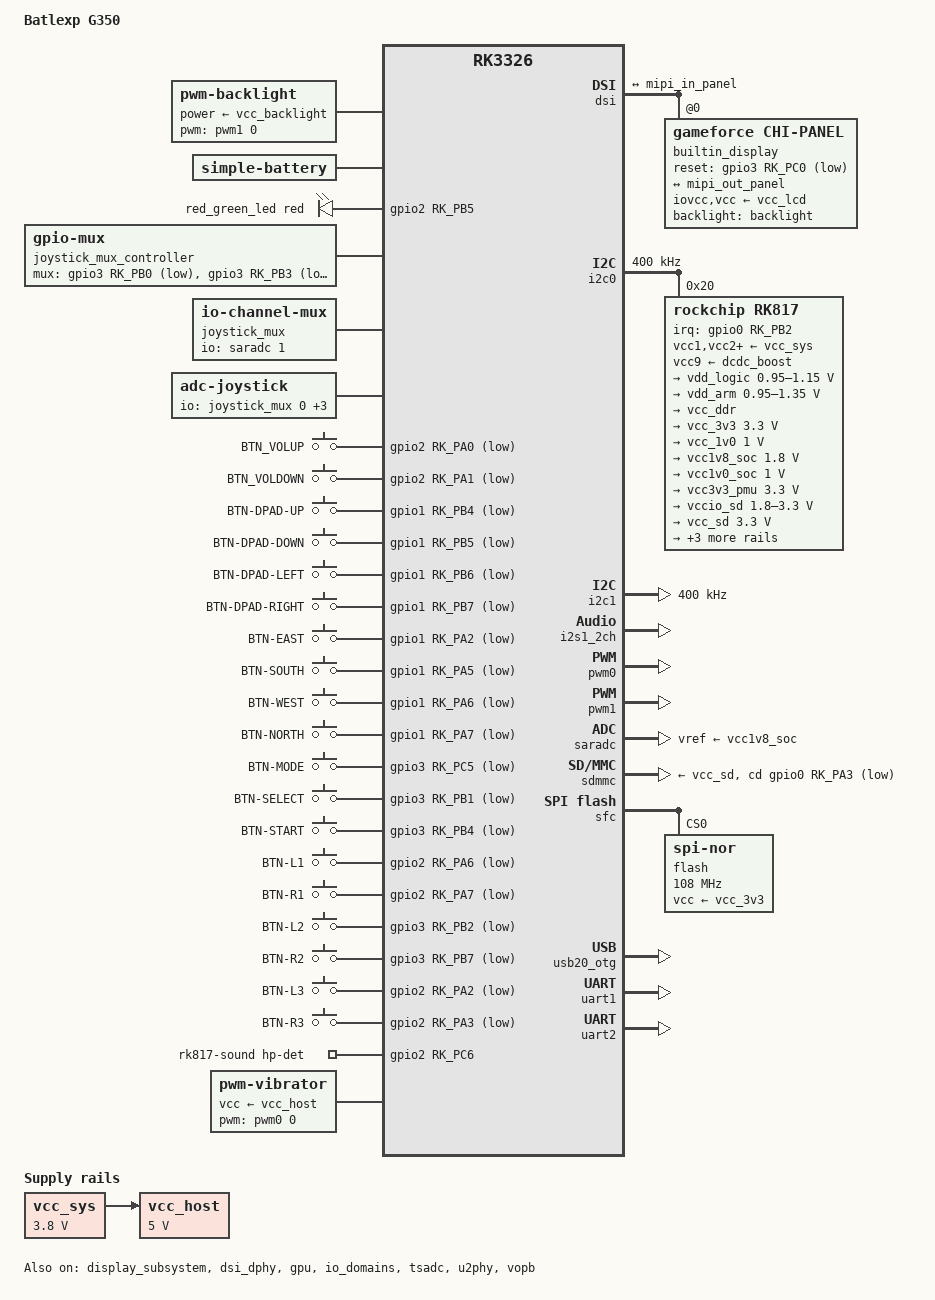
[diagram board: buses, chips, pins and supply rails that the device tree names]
// SPDX-License-Identifier: GPL-2.0-or-later
/*
 *  Copyright (c) 2025 Aura Cichoń <vddcore@outlook.com>
 */

/dts-v1/;
#include <dt-bindings/input/input.h>
#include "rk3326.dtsi"

/ {
	model = "Batlexp G350";
	compatible = "batlexp,rk3326-batlexp-g350", "rockchip,rk3326";

	chosen {
		stdout-path = "serial2:115200n8";
	};

	backlight: backlight {
		compatible = "pwm-backlight";
		power-supply = <&vcc_backlight>;
		pwms = <&pwm1 0 25000 0>;

		brightness-levels = <0 1 2 3 4 5 6 7 8 9 10 11 12 13 14 15 16 17 18 19 20 21 22 23 24 25 26 27 28 29 30 31 32 33 34 35 36 37 38 39 40 41 42 43 44 45 46 47 48 49 50 51 52 53 54 55 56 57 58 59 60 61 62 63 64 65 66 67 68 69 70 71 72 73 74 75 76 77 78 79 80 81 82 83 84 85 86 87 88 89 90 91 92 93 94 95 96 97 98 99 100 101 102 103 104 105 106 107 108 109 110 111 112 113 114 115 116 117 118 119 120 121 122 123 124 125 126 127 128 129 130 131 132 133 134 135 136 137 138 139 140 141 142 143 144 145 146 147 148 149 150 151 152 153 154 155 156 157 158 159 160 161 162 163 164 165 166 167 168 169 170 171 172 173 174 175 176 177 178 179 180 181 182 183 184 185 186 187 188 189 190 191 192 193 194 195 196 197 198 199 200 201 202 203 204 205 206 207 208 209 210 211 212 213 214 215 216 217 218 219 220 221 222 223 224 225 226 227 228 229 230 231 232 233 234 235 236 237 238 239 240 241 242 243 244 245 246 247 248 249 250 251 252 253 254 255>;
		default-brightness-level = <200>;
	};

	battery: battery {
		compatible = "simple-battery";
		charge-full-design-microamp-hours = <3200000>;
		charge-term-current-microamp = <300000>;
		constant-charge-current-max-microamp = <1600000>;
		constant-charge-voltage-max-microvolt = <4200000>;
		factory-internal-resistance-micro-ohms = <180000>;
		ocv-capacity-celsius = <20>;
		ocv-capacity-table-0 =  <4106000 100>, <4071000 95>, <4018000 90>, <3975000 85>,
								<3946000 80>, <3908000 75>, <3877000 70>, <3853000 65>,
								<3834000 60>, <3816000 55>, <3802000 50>, <3788000 45>,
								<3774000 40>, <3760000 35>, <3748000 30>, <3735000 25>,
								<3718000 20>, <3697000 15>, <3685000 10>, <3625000 5>,
								<3400000 0>;
		voltage-max-design-microvolt = <4250000>;
		voltage-min-design-microvolt = <3400000>;
	};

	gpio_led: gpio-leds {
		compatible = "gpio-leds";
		pinctrl-names = "default";
		pinctrl-0 = <&led_pin>;

		red_green_led: led-0 {
			color = <LED_COLOR_ID_RED>;
			gpios = <&gpio2 RK_PB5 GPIO_ACTIVE_HIGH>;
			function = LED_FUNCTION_CHARGING;
		};
	};

	joystick_mux_controller: joystick-mux-controller {
		compatible = "gpio-mux";
		pinctrl = <&mux_en_pins>;
		#mux-control-cells = <0>;

		mux-gpios = 
			<&gpio3 RK_PB0 GPIO_ACTIVE_LOW>,
			<&gpio3 RK_PB3 GPIO_ACTIVE_LOW>;
	};

	joystick_mux: joystick-mux {
		compatible = "io-channel-mux";
		io-channels = <&saradc 1>;
		io-channel-names = "parent";
		#io-channel-cells = <1>;

		mux-controls = <&joystick_mux_controller>;
		channels = "0", "1", "2", "3";
	};

	joystick: joystick {
		compatible = "adc-joystick";
		
		io-channels = 
			<&joystick_mux 0>,
			<&joystick_mux 1>,
			<&joystick_mux 2>,
			<&joystick_mux 3>;

		poll-interval = <60>;
		#address-cells = <1>;
		#size-cells = <0>;

		axis@0 {
			reg = <0>;
			abs-flat = <10>;
			abs-fuzz = <10>;
			abs-range = <1024 0>;
			linux,code = <ABS_X>;
		};

		axis@1 {
			reg = <1>;
			abs-flat = <10>;
			abs-fuzz = <10>;
			abs-range = <1024 0>;
			linux,code = <ABS_Y>;
		};

		axis@2 {
			reg = <3>;
			abs-flat = <10>;
			abs-fuzz = <10>;
			abs-range = <1024 0>;
			linux,code = <ABS_RX>;
		};

		axis@3 {
			reg = <2>;
			abs-flat = <10>;
			abs-fuzz = <10>;
			abs-range = <0 1024>;
			linux,code = <ABS_RY>;
		};
	};

	keys_vol: keys-vol {
		compatible = "gpio-keys";
		autorepeat;
		pinctrl-0 = <&btn_pins_vol>;
		pinctrl-names = "default";

		button-volume-up {
			gpios = <&gpio2 RK_PA0 GPIO_ACTIVE_LOW>;
			label = "BTN_VOLUP";
			linux,code = <KEY_VOLUMEUP>;
		};

		button-vol-down {
			gpios = <&gpio2 RK_PA1 GPIO_ACTIVE_LOW>;
			label = "BTN_VOLDOWN";
			linux,code = <KEY_VOLUMEDOWN>;
		};
	};

	keys_gamepad: keys-gamepad {
		compatible = "gpio-keys";
		pinctrl-0 = <&btn_pins_gamepad>;
		pinctrl-names = "default";

		button-dpad-up {
			gpios = <&gpio1 RK_PB4 GPIO_ACTIVE_LOW>;
			label = "BTN-DPAD-UP";
			linux,code = <BTN_DPAD_UP>;
		};

		button-dpad-down {
			gpios = <&gpio1 RK_PB5 GPIO_ACTIVE_LOW>;
			label = "BTN-DPAD-DOWN";
			linux,code = <BTN_DPAD_DOWN>;
		};

		button-dpad-left {
			gpios = <&gpio1 RK_PB6 GPIO_ACTIVE_LOW>;
			label = "BTN-DPAD-LEFT";
			linux,code = <BTN_DPAD_LEFT>;
		};

		button-dpad-right {
			gpios = <&gpio1 RK_PB7 GPIO_ACTIVE_LOW>;
			label = "BTN-DPAD-RIGHT";
			linux,code = <BTN_DPAD_RIGHT>;
		};

		button-east {
			gpios = <&gpio1 RK_PA2 GPIO_ACTIVE_LOW>;
			label = "BTN-EAST";
			linux,code = <BTN_EAST>;
		};

		button-south {
			gpios = <&gpio1 RK_PA5 GPIO_ACTIVE_LOW>;
			label = "BTN-SOUTH";
			linux,code = <BTN_SOUTH>;
		};

		button-west {
			gpios = <&gpio1 RK_PA6 GPIO_ACTIVE_LOW>;
			label = "BTN-WEST";
			linux,code = <BTN_WEST>;
		};

		button-north {
			gpios = <&gpio1 RK_PA7 GPIO_ACTIVE_LOW>;
			label = "BTN-NORTH";
			linux,code = <BTN_NORTH>;
		};

		button-mode {
			gpios = <&gpio3 RK_PC5 GPIO_ACTIVE_LOW>;
			label = "BTN-MODE";
			linux,code = <BTN_TRIGGER_HAPPY5>;
		};

		button-select {
			gpios = <&gpio3 RK_PB1 GPIO_ACTIVE_LOW>;
			label = "BTN-SELECT";
			linux,code = <BTN_TRIGGER_HAPPY1>;
		};

		button-start {
			gpios = <&gpio3 RK_PB4 GPIO_ACTIVE_LOW>;
			label = "BTN-START";
			linux,code = <BTN_TRIGGER_HAPPY2>;
		};

		button-l1 {
			gpios = <&gpio2 RK_PA6 GPIO_ACTIVE_LOW>;
			label = "BTN-L1";
			linux,code = <BTN_TL>;
		};

		button-r1 {
			gpios = <&gpio2 RK_PA7 GPIO_ACTIVE_LOW>;
			label = "BTN-R1";
			linux,code = <BTN_TR>;
		};

		button-l2 {
			gpios = <&gpio3 RK_PB2 GPIO_ACTIVE_LOW>;
			label = "BTN-L2";
			linux,code = <BTN_TL2>;
		};

		button-r2 {
			gpios = <&gpio3 RK_PB7 GPIO_ACTIVE_LOW>;
			label = "BTN-R2";
			linux,code = <BTN_TR2>;
		};

		button-l3 {
			gpios = <&gpio2 RK_PA2 GPIO_ACTIVE_LOW>;
			label = "BTN-L3";
			linux,code = <BTN_TRIGGER_HAPPY3>;
		};

		button-r3 {
			gpios = <&gpio2 RK_PA3 GPIO_ACTIVE_LOW>;
			label = "BTN-R3";
			linux,code = <BTN_TRIGGER_HAPPY4>;
		};
	};

	rk817-sound {
		compatible = "simple-audio-card";
		simple-audio-card,name = "rk817_int";
		simple-audio-card,format = "i2s";
		simple-audio-card,hp-det-gpios = <&gpio2 RK_PC6 GPIO_ACTIVE_HIGH>;
		simple-audio-card,mclk-fs = <256>;
		simple-audio-card,widgets =
			"Microphone", "Mic Jack",
			"Headphone", "Headphones",
			"Speaker", "Speaker";
		simple-audio-card,routing =
			"MICL", "Mic Jack",
			"Headphones", "HPOL",
			"Headphones", "HPOR",
			"Speaker", "SPKO";

		simple-audio-card,codec {
			sound-dai = <&rk817>;
		};

		simple-audio-card,cpu {
			sound-dai = <&i2s1_2ch>;
		};
	};

	vcc_host: regulator-vcc-host {
		compatible = "regulator-fixed";
		regulator-name = "vcc_host";
		regulator-min-microvolt = <5000000>;
		regulator-max-microvolt = <5000000>;
		regulator-always-on;
		vin-supply = <&vcc_sys>;
	};

	vcc_sys: regulator-vcc-sys {
		compatible = "regulator-fixed";
		regulator-name = "vcc3v8_sys";
		regulator-always-on;
		regulator-min-microvolt = <3800000>;
		regulator-max-microvolt = <3800000>;
	};

	vibrator: pwm-vibrator {
		compatible = "pwm-vibrator";
		pwms = <&pwm0 0 1000000000 0>;
		pwm-names = "enable";
		vcc-supply = <&vcc_host>;
	};
};

&cpu0 {
	cpu-supply = <&vdd_arm>;
};

&cpu1 {
	cpu-supply = <&vdd_arm>;
};

&cpu2 {
	cpu-supply = <&vdd_arm>;
};

&cpu3 {
	cpu-supply = <&vdd_arm>;
};

&cru {
	assigned-clocks = <&cru PLL_NPLL>,
		<&cru ACLK_BUS_PRE>, <&cru ACLK_PERI_PRE>,
		<&cru HCLK_BUS_PRE>, <&cru HCLK_PERI_PRE>,
		<&cru PCLK_BUS_PRE>, <&cru SCLK_GPU>;

	assigned-clock-rates = <1188000000>,
		<200000000>, <200000000>,
		<150000000>, <150000000>,
		<100000000>, <200000000>;
};

&display_subsystem {
	status = "okay";
};

&dsi {
	#address-cells = <1>;
	#size-cells = <0>;
	status = "okay";

	ports {
		mipi_out: port@1 {
			reg = <1>;

			mipi_out_panel: endpoint {
				remote-endpoint = <&mipi_in_panel>;
			};
		};
	};

	builtin_display: panel@0 {
		backlight = <&backlight>;
		compatible = "gameforce,chi-panel", "sitronix,st7703";
		reset-gpios = <&gpio3 RK_PC0 GPIO_ACTIVE_LOW>;
		reg = <0>;
		rotation = <270>;

		iovcc-supply = <&vcc_lcd>;
		vcc-supply = <&vcc_lcd>;

		port {
			mipi_in_panel: endpoint {
				remote-endpoint = <&mipi_out_panel>;
			};
		};
	};
};

&dsi_dphy {
	status = "okay";
};

&gpu {
	mali-supply = <&vdd_logic>;
	status = "okay";
};

&i2c0 {
	clock-frequency = <400000>;
	i2c-scl-falling-time-ns = <16>;
	i2c-scl-rising-time-ns = <280>;
	status = "okay";

	rk817: pmic@20 {
		compatible = "rockchip,rk817";
		reg = <0x20>;
		interrupt-parent = <&gpio0>;
		interrupts = <RK_PB2 IRQ_TYPE_LEVEL_LOW>;
		clock-output-names = "rk808-clkout1", "xin32k";
		clock-names = "mclk";
		clocks = <&cru SCLK_I2S1_OUT>;
		pinctrl-names = "default", "pmic-sleep", "pmic-power-off", "pmic-reset";
		pinctrl-0 = <&pmic_int>, <&i2s1_2ch_mclk>;
		wakeup-source;
		#clock-cells = <1>;
		#sound-dai-cells = <0>;

		vcc1-supply = <&vcc_sys>;
		vcc2-supply = <&vcc_sys>;
		vcc3-supply = <&vcc_sys>;
		vcc4-supply = <&vcc_sys>;
		vcc5-supply = <&vcc_sys>;
		vcc6-supply = <&vcc_sys>;
		vcc7-supply = <&vcc_sys>;
		vcc8-supply = <&vcc_sys>;
		vcc9-supply = <&dcdc_boost>;

		pwrkey {
			status = "okay";
		};

		regulators {
			vdd_logic: DCDC_REG1 {
				regulator-name = "vdd_logic";
				regulator-min-microvolt = <950000>;
				regulator-max-microvolt = <1150000>;
				regulator-ramp-delay = <6001>;
				regulator-always-on;
				regulator-boot-on;

				regulator-state-mem {
					regulator-on-in-suspend;
					regulator-suspend-microvolt = <950000>;
				};
			};

			vdd_arm: DCDC_REG2 {
				regulator-name = "vdd_arm";
				regulator-min-microvolt = <950000>;
				regulator-max-microvolt = <1350000>;
				regulator-ramp-delay = <6001>;
				regulator-always-on;
				regulator-boot-on;

				regulator-state-mem {
					regulator-off-in-suspend;
					regulator-suspend-microvolt = <950000>;
				};
			};

			vcc_ddr: DCDC_REG3 {
				regulator-name = "vcc_ddr";
				regulator-always-on;
				regulator-boot-on;

				regulator-state-mem {
					regulator-on-in-suspend;
				};
			};

			vcc_3v3: DCDC_REG4 {
				regulator-name = "vcc_3v3";
				regulator-min-microvolt = <3300000>;
				regulator-max-microvolt = <3300000>;
				regulator-always-on;
				regulator-boot-on;

				regulator-state-mem {
					regulator-off-in-suspend;
					regulator-suspend-microvolt = <3300000>;
				};
			};

			vcc_1v0: LDO_REG1 {
				regulator-name = "vcc_1v0";
				regulator-min-microvolt = <1000000>;
				regulator-max-microvolt = <1000000>;
				regulator-always-on;
				regulator-boot-on;

				regulator-state-mem {
					regulator-on-in-suspend;
					regulator-suspend-microvolt = <1000000>;
				};
			};

			vcc1v8_soc: LDO_REG2 {
				regulator-name = "vcc1v8_soc";
				regulator-min-microvolt = <1800000>;
				regulator-max-microvolt = <1800000>;
				regulator-always-on;
				regulator-boot-on;

				regulator-state-mem {
					regulator-on-in-suspend;
					regulator-suspend-microvolt = <1800000>;
				};
			};

			vcc1v0_soc: LDO_REG3 {
				regulator-min-microvolt = <1000000>;
				regulator-max-microvolt = <1000000>;
				regulator-name = "vcc1v0_soc";
				regulator-always-on;
				regulator-boot-on;

				regulator-state-mem {
					regulator-on-in-suspend;
					regulator-suspend-microvolt = <1000000>;
				};
			};

			vcc3v3_pmu: LDO_REG4 {
				regulator-name = "vcc3v3_pmu";
				regulator-min-microvolt = <3300000>;
				regulator-max-microvolt = <3300000>;
				regulator-always-on;
				regulator-boot-on;

				regulator-state-mem {
					regulator-on-in-suspend;
					regulator-suspend-microvolt = <3300000>;
				};
			};

			vccio_sd: LDO_REG5 {
				regulator-name = "vccio_sd";
				regulator-min-microvolt = <1800000>;
				regulator-max-microvolt = <3300000>;
				regulator-always-on;
				regulator-boot-on;

				regulator-state-mem {
					regulator-on-in-suspend;
					regulator-suspend-microvolt = <3300000>;
				};
			};

			vcc_sd: LDO_REG6 {
				regulator-name = "vcc_sd";
				regulator-min-microvolt = <3300000>;
				regulator-max-microvolt = <3300000>;
				regulator-boot-on;

				regulator-state-mem {
					regulator-on-in-suspend;
					regulator-suspend-microvolt = <3300000>;
				};
			};

			vcc_backlight: LDO_REG7 {
				regulator-name = "vcc_backlight";
				regulator-min-microvolt = <3300000>;
				regulator-max-microvolt = <3300000>;

				regulator-state-mem {
					regulator-off-in-suspend;
					regulator-suspend-microvolt = <3300000>;
				};
			};

			vcc_lcd: LDO_REG8 {
				regulator-name = "vcc_lcd";
				regulator-min-microvolt = <2800000>;
				regulator-max-microvolt = <2800000>;

				regulator-state-mem {
					regulator-off-in-suspend;
					regulator-suspend-microvolt = <2800000>;
				};
			};

			dcdc_boost: BOOST {
				regulator-name = "dcdc_boost";
				regulator-min-microvolt = <5000000>;
				regulator-max-microvolt = <5400000>;
				regulator-always-on;
				regulator-boot-on;
			};
		};

		rk817_charger: charger {
			monitored-battery = <&battery>;
			rockchip,resistor-sense-micro-ohms = <10000>;
			rockchip,sleep-enter-current-microamp = <300000>;
			rockchip,sleep-filter-current-microamp = <100000>;
		};

		rk817_codec: codec {
			rockchip,mic-in-differential;
		};
	};
};

&i2c1 {
	clock-frequency = <400000>;
	status = "okay";
};

&i2s1_2ch {
	status = "okay";
};

&io_domains {
	vccio1-supply = <&vccio_sd>;
	vccio2-supply = <&vccio_sd>;
	vccio3-supply = <&vcc_3v3>;
	vccio4-supply = <&vcc_3v3>;
	vccio5-supply = <&vcc_3v3>;
	vccio6-supply = <&vcc_3v3>;
	status = "okay";
};

&pmu_io_domains {
	pmuio1-supply = <&vcc3v3_pmu>;
	pmuio2-supply = <&vcc3v3_pmu>;
	status = "okay";
};

&pwm0 {
	status = "okay";
};

&pwm1 {
	status = "okay";
};

&saradc {
	vref-supply = <&vcc1v8_soc>;
	status = "okay";
};

&sdmmc {
	cap-sd-highspeed;
	card-detect-delay = <200>;
	cd-gpios = <&gpio0 RK_PA3 GPIO_ACTIVE_LOW>; /*[> CD GPIO <]*/
	sd-uhs-sdr12;
	sd-uhs-sdr25;
	sd-uhs-sdr50;
	sd-uhs-sdr104;
	vmmc-supply = <&vcc_sd>;
	vqmmc-supply = <&vccio_sd>;
	status = "okay";
};

&sfc {
	pinctrl-0 = <&sfc_clk &sfc_cs0 &sfc_bus2>;
	pinctrl-names = "default";
	#address-cells = <1>;
	#size-cells = <0>;
	status = "okay";

	flash@0 {
		compatible = "jedec,spi-nor";
		reg = <0>;
		spi-max-frequency = <108000000>;
		spi-rx-bus-width = <2>;
		spi-tx-bus-width = <1>;
		vcc-supply = <&vcc_3v3>;
	};
};

&tsadc {
	status = "okay";
};

&u2phy {
	status = "okay";

	u2phy_host: host-port {
		status = "okay";
	};

	u2phy_otg: otg-port {
		status = "disabled";
	};
};

&usb20_otg {
	status = "okay";
};

&uart1 {
	pinctrl-names = "default";
	pinctrl-0 = <&uart1_xfer &uart1_cts>;
	status = "okay";
};

&uart2 {
	pinctrl-names = "default";
	pinctrl-0 = <&uart2m1_xfer>;
	status = "okay";
};

&vopb {
	status = "okay";
};

&vopb_mmu {
	status = "okay";
};

&pinctrl {
	btns {
		btn_pins_gamepad: btn-pins-gamepad {
			rockchip,pins = 
				<1 RK_PB4 RK_FUNC_GPIO &pcfg_pull_up>,
				<1 RK_PB5 RK_FUNC_GPIO &pcfg_pull_up>,
				<1 RK_PB6 RK_FUNC_GPIO &pcfg_pull_up>,
				<1 RK_PB7 RK_FUNC_GPIO &pcfg_pull_up>,
				<1 RK_PA2 RK_FUNC_GPIO &pcfg_pull_up>,
				<1 RK_PA5 RK_FUNC_GPIO &pcfg_pull_up>,
				<1 RK_PA6 RK_FUNC_GPIO &pcfg_pull_up>,
				<1 RK_PA7 RK_FUNC_GPIO &pcfg_pull_up>,
				<2 RK_PA2 RK_FUNC_GPIO &pcfg_pull_up>,
				<2 RK_PA3 RK_FUNC_GPIO &pcfg_pull_up>,
				<2 RK_PA4 RK_FUNC_GPIO &pcfg_pull_up>,
				<2 RK_PA5 RK_FUNC_GPIO &pcfg_pull_up>,
				<2 RK_PA6 RK_FUNC_GPIO &pcfg_pull_up>,
				<2 RK_PA7 RK_FUNC_GPIO &pcfg_pull_up>,
				<3 RK_PB1 RK_FUNC_GPIO &pcfg_pull_up>,
				<3 RK_PB2 RK_FUNC_GPIO &pcfg_pull_up>,
				<3 RK_PB4 RK_FUNC_GPIO &pcfg_pull_up>,
				<3 RK_PB7 RK_FUNC_GPIO &pcfg_pull_up>,
				<3 RK_PC5 RK_FUNC_GPIO &pcfg_pull_up>;
		};

		btn_pins_vol: btn-pins-vol {
			rockchip,pins = 
					<2 RK_PA0 RK_FUNC_GPIO &pcfg_pull_up>,
					<2 RK_PA1 RK_FUNC_GPIO &pcfg_pull_up>;
		};
	};

	joystick {
		mux_en_pins: mux-pins {
			rockchip,pins = <3 RK_PB5 RK_FUNC_GPIO &pcfg_output_low>;
		};
	};

	leds {
		led_pin: led-pin {
			rockchip,pins = <2 RK_PB5 RK_FUNC_GPIO &pcfg_pull_none>;
		};
	};

	pmic {
		pmic_int: pmic-int {
			rockchip,pins = 
				<0 RK_PB2 RK_FUNC_GPIO &pcfg_pull_up>,
				<0 RK_PB3 RK_FUNC_GPIO &pcfg_pull_none>;
		};

		soc_slppin_gpio: soc-slppin-gpio {
			rockchip,pins = <0 RK_PA4 RK_FUNC_GPIO &pcfg_output_low>;
		};

		soc_slppin_rst: soc-slppin-rst {
			rockchip,pins = <0 RK_PA4 2 &pcfg_pull_none>;
		};

		soc_slppin_slp: soc-slppin-slp {
			rockchip,pins = <0 RK_PA4 1 &pcfg_pull_none>;
		};
	};
};
